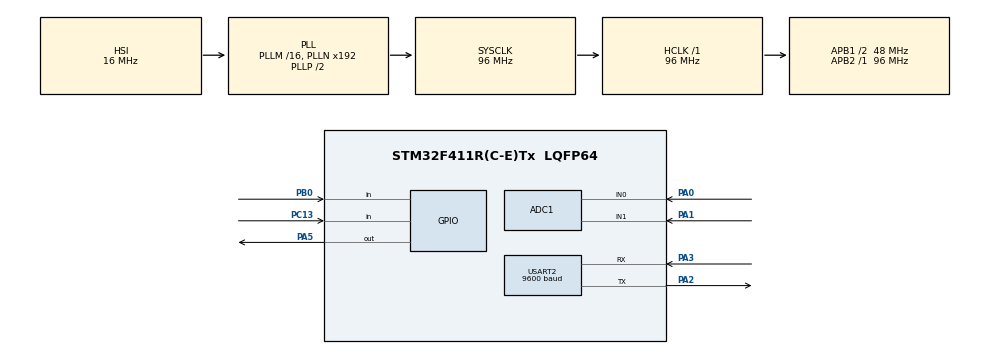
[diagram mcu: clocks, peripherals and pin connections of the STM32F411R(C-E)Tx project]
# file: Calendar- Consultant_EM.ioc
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ADC1.Channel-0\#ChannelRegularConversion=ADC_CHANNEL_0
ADC1.Channel-1\#ChannelRegularConversion=ADC_CHANNEL_1
ADC1.ContinuousConvMode=ENABLE
ADC1.DMAContinuousRequests=ENABLE
ADC1.NbrOfConversion=2
ADC1.NbrOfConversionFlag=1
ADC1.Rank-0\#ChannelRegularConversion=1
ADC1.Rank-1\#ChannelRegularConversion=2
ADC1.SamplingTime-0\#ChannelRegularConversion=ADC_SAMPLETIME_84CYCLES
ADC1.SamplingTime-1\#ChannelRegularConversion=ADC_SAMPLETIME_84CYCLES
ADC1.master=1
Dma.ADC1.1.Direction=DMA_PERIPH_TO_MEMORY
Dma.ADC1.1.FIFOMode=DMA_FIFOMODE_DISABLE
Dma.ADC1.1.Instance=DMA2_Stream0
Dma.ADC1.1.MemDataAlignment=DMA_MDATAALIGN_WORD
Dma.ADC1.1.MemInc=DMA_MINC_ENABLE
Dma.ADC1.1.Mode=DMA_CIRCULAR
Dma.ADC1.1.PeriphDataAlignment=DMA_PDATAALIGN_WORD
Dma.ADC1.1.PeriphInc=DMA_PINC_DISABLE
Dma.ADC1.1.Priority=DMA_PRIORITY_LOW
Dma.Request0=USART2_RX
Dma.Request1=ADC1
Dma.USART2_RX.0.Direction=DMA_PERIPH_TO_MEMORY
Dma.USART2_RX.0.FIFOMode=DMA_FIFOMODE_DISABLE
Dma.USART2_RX.0.Instance=DMA1_Stream5
Dma.USART2_RX.0.MemDataAlignment=DMA_MDATAALIGN_BYTE
Dma.USART2_RX.0.MemInc=DMA_MINC_ENABLE
Dma.USART2_RX.0.Mode=DMA_NORMAL
Dma.USART2_RX.0.PeriphDataAlignment=DMA_PDATAALIGN_BYTE
Dma.USART2_RX.0.PeriphInc=DMA_PINC_DISABLE
Dma.USART2_RX.0.Priority=DMA_PRIORITY_LOW
Mcu.Family=STM32F4
Mcu.Name=STM32F411R(C-E)Tx
Mcu.Package=LQFP64
NVIC.DMA1_Stream5_IRQn=true\:0\:0\:false\:false\:true\:false\:true\:true
NVIC.DMA2_Stream0_IRQn=true\:0\:0\:false\:false\:true\:false\:true\:true
NVIC.PriorityGroup=NVIC_PRIORITYGROUP_4
NVIC.TIM2_IRQn=true\:0\:0\:false\:false\:true\:true\:true\:true
NVIC.TIM4_IRQn=true\:0\:0\:false\:false\:true\:true\:true\:true
NVIC.USART2_IRQn=true\:0\:0\:false\:false\:true\:true\:true\:true
PA0-WKUP.Signal=SharedAnalog_PA0
PA1.Signal=SharedAnalog_PA1
PA2.Mode=Asynchronous
PA2.Signal=USART2_TX
PA3.Mode=Asynchronous
PA3.Signal=USART2_RX
PA5.Signal=GPIO_Output
PB0.Signal=GPIO_Input
PC13-ANTI_TAMP.Signal=GPIO_Input
PH0\ -\ OSC_IN.Mode=HSE-External-Oscillator
PH0\ -\ OSC_IN.Signal=RCC_OSC_IN
PH1\ -\ OSC_OUT.Mode=HSE-External-Oscillator
PH1\ -\ OSC_OUT.Signal=RCC_OSC_OUT
ProjectManager.HeapSize=0x200
ProjectManager.StackSize=0x400
ProjectManager.TargetToolchain=STM32CubeIDE
RCC.AHBFreq_Value=96000000
RCC.APB1CLKDivider=RCC_HCLK_DIV2
RCC.APB1Freq_Value=48000000
RCC.APB1TimFreq_Value=96000000
RCC.APB2Freq_Value=96000000
RCC.APB2TimFreq_Value=96000000
RCC.CortexFreq_Value=96000000
RCC.HCLKFreq_Value=96000000
RCC.HSE_VALUE=25000000
RCC.HSI_VALUE=16000000
RCC.LSE_VALUE=32768
RCC.SYSCLKFreq_VALUE=96000000
RCC.SYSCLKSource=RCC_SYSCLKSOURCE_PLLCLK
RCC.VCOOutputFreq_Value=192000000
SH.SharedAnalog_PA0.0=GPIO_Analog
SH.SharedAnalog_PA0.1=ADC1_IN0,IN0
SH.SharedAnalog_PA1.0=GPIO_Analog
SH.SharedAnalog_PA1.1=ADC1_IN1,IN1
TIM2.AutoReloadPreload=TIM_AUTORELOAD_PRELOAD_ENABLE
TIM2.Channel-Output\ Compare1\ No\ Output=TIM_CHANNEL_1
TIM2.Period=60999
TIM2.Prescaler=9999
TIM3.AutoReloadPreload=TIM_AUTORELOAD_PRELOAD_ENABLE
TIM3.Channel-Output\ Compare1\ No\ Output=TIM_CHANNEL_1
TIM3.Period=30999
TIM3.Prescaler=9999
TIM4.AutoReloadPreload=TIM_AUTORELOAD_PRELOAD_DISABLE
TIM4.Channel-Output\ Compare1\ No\ Output=TIM_CHANNEL_1
TIM4.Period=4999
TIM4.Prescaler=9999
USART2.BaudRate=9600
USART2.VirtualMode=VM_ASYNC
VP_TIM2_VS_ClockSourceINT.Mode=Internal
VP_TIM2_VS_no_output1.Mode=Output Compare1 No Output
VP_TIM3_VS_ClockSourceINT.Mode=Internal
VP_TIM3_VS_no_output1.Mode=Output Compare1 No Output
VP_TIM4_VS_ClockSourceINT.Mode=Internal
VP_TIM4_VS_no_output1.Mode=Output Compare1 No Output
board=custom

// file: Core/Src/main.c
/* USER CODE BEGIN Header */
/**
  ******************************************************************************
  * @file           : main.c
  * @brief          : Main program body
  ******************************************************************************
  * @attention
  *
  * Copyright (c) 2023 STMicroelectronics.
  * All rights reserved.
  *
  * This software is licensed under terms that can be found in the LICENSE file
  * in the root directory of this software component.
  * If no LICENSE file comes with this software, it is provided AS-IS.
  *
  ******************************************************************************
  */
/* USER CODE END Header */
#include "main.h"

/* USER CODE BEGIN Includes */
#include "LCD.h"
/* USER CODE END Includes */

ADC_HandleTypeDef hadc1;
DMA_HandleTypeDef hdma_adc1;

TIM_HandleTypeDef htim2;
TIM_HandleTypeDef htim3;
TIM_HandleTypeDef htim4;

UART_HandleTypeDef huart2;
DMA_HandleTypeDef hdma_usart2_rx;

void SystemClock_Config(void);
static void MX_GPIO_Init(void);
static void MX_DMA_Init(void);
static void MX_USART2_UART_Init(void);
static void MX_TIM2_Init(void);
static void MX_TIM3_Init(void);
static void MX_ADC1_Init(void);
static void MX_TIM4_Init(void);

/* USER CODE BEGIN 0 */

/*-------------------------------- LCD ------------------------ */
#define LCD_DATA_PORT 		GPIOB
#define LCD_RSE_PORT 		GPIOC
#define LCD_RS_PIN 			GPIO_PIN_8
#define LCD_E_PIN 			GPIO_PIN_6
#define LCD_LENGTH	 		15

LCD_PinType LCD_DATA_PINS[] = {GPIO_PIN_13,GPIO_PIN_14,GPIO_PIN_15,GPIO_PIN_1};
LCD_Struct_t LCD;
//Text that goes to LCD when updating function is called
char *LCD_Text[2];
//Reprint in LCD
void LCDUpdate();
void LCDPut(const char *s1,const char *s2);
void LCDPutEvents();
//If parameter is set to 1, only puts menu selector for yes and no (this improves visual)
void LCDPutDelete(int);
void LCDAnimationDown(char *s1,char *s2);
void LCDAnimationUp(char *s1,char *s2);
//Flag to indicate when to update screen in super loop
int fUpdateLCD=0;
#define LCD_DIVISION_LINE 		"  ___________  "
#define ANIAMATION_TIME 200
#define WITH_ANIMATION					0

//Delete Menu variables
const char DELETE_DIALOG[LCD_LENGTH+1] = "Delete event?";
const char delete_selector_diag_no[LCD_LENGTH+1] = "   Yes   (No)   ";
const char delete_selector_diag_yes[LCD_LENGTH+1] = "  (Yes)   No    ";
int onDeleteScreen = 0;
int no_selected = 1;

/*-------------------------------- USART ------------------------ */
void processBufferEvents();
#define LENGTH_RBUFFER 300
#define LENGTH_SBUFFER 2
#define TX_UPDATE 		'E';
#define TX_DELETE 		'D';
unsigned char read_buffer[LENGTH_RBUFFER+1];
unsigned char send_buffer[LENGTH_SBUFFER+1];

/*-------------------------------- Events ------------------------ */
#define MAX_EVENTS 5
//Struct to save summary and date of all events
typedef struct{
	char summary[LCD_LENGTH+1];
	char date[LCD_LENGTH+1];
}Events;
//List of events
Events events[MAX_EVENTS];

//Current amount of events received
int c_maxEvent = 0;
//Event selected to print on scren
int selected_event = 0;
//Flag to indicate when to update events in super loop
int fUpdateEvents=0;

void deleteEvent();

/*-------------------------------- Joystick ------------------------ */
#define JOYSTICK_MIN_CHANGE		1000
#define JOYSTICK_MED_VAL		2000

//Joystick val first index is up and down, second index is for left and right
//Set joystick previos val to middle val
uint32_t vals_joystick[2] = {JOYSTICK_MED_VAL,JOYSTICK_MED_VAL};
uint32_t last_vals_joystick[2] = {JOYSTICK_MED_VAL,JOYSTICK_MED_VAL};

//Flag that indicates if joystick has keep on the same enough time to make action again
int fTimmerJoystickUD = 0;
void joystickUp();
void joystickDown();
void joystickLeft();
void joystickRight();
void joystickCheckLR();
void joystickCheckUD();

/* USER CODE END 0 */

int main(void)
{

  /* MCU Configuration--------------------------------------------------------*/

  /* Reset of all peripherals, Initializes the Flash interface and the Systick. */
  HAL_Init();

  /* Configure the system clock */
  SystemClock_Config();

  /* Initialize all configured peripherals */
  MX_GPIO_Init();
  MX_DMA_Init();
  MX_USART2_UART_Init();
  MX_TIM2_Init();
  MX_TIM3_Init();
  MX_ADC1_Init();
  MX_TIM4_Init();
  /* USER CODE BEGIN 2 */

  /* LCD INIT */
  HAL_Delay(500);
  LCD = LCD_Create(LCD_DATA_PORT, LCD_DATA_PINS, LCD_RSE_PORT, LCD_RS_PIN, LCD_RSE_PORT, LCD_E_PIN);
  HAL_Delay(500);
  LCDPut("LOADING...","");
  LCDUpdate();

  /* get events */
  fUpdateEvents=1;
  //Start update events timmer
  HAL_TIM_Base_Start_IT(&htim2);
  //Start update LCD timmer
  HAL_TIM_Base_Start_IT(&htim3);
  LCD_XY(&LCD,0,0);
  HAL_ADC_Start_DMA(&hadc1,vals_joystick,2);

  /* USER CODE END 2 */

  /* Infinite loop */
  while (1)
  {

    /* USER CODE BEGIN 3 */

	  /* --------------------- Joystick --------------- */
	  //If on delete event screen, cant move up and down to change selected event
	  if (onDeleteScreen==0){
		  joystickCheckUD();
	  }
	  joystickCheckLR();

	  /* --------------------- Check for delete event --------------- */

	  if (HAL_GPIO_ReadPin(GPIOB,GPIO_PIN_0) == GPIO_PIN_RESET && onDeleteScreen){
		  if (no_selected){
			  onDeleteScreen=0;
			  LCDPutEvents();
			  LCDUpdate();
		  }else{
			  deleteEvent();
			  fUpdateEvents=1;
			  onDeleteScreen=0;
			  no_selected=1;
			  LCDPutEvents();
			  LCDUpdate();
		  }
	  }

	  /* --------------------- Check for update Flags --------------- */
	  //Update Events
	  if (fUpdateEvents){
		//Ask for info
		//Clean buffers
		memset(read_buffer,0,LENGTH_RBUFFER);

		send_buffer[0] = TX_UPDATE;
		send_buffer[1] = '-';

		fUpdateEvents=0;
		HAL_UART_Transmit_IT(&huart2,send_buffer,LENGTH_SBUFFER);
	  }
	  //Update LCD

	  if (fUpdateLCD){
		LCDUpdate();
		fUpdateLCD=0;
	  }

	  /* --------------------- Test --------------- */

	  //Dummy code for button
	  if (HAL_GPIO_ReadPin(GPIOC, GPIO_PIN_13) == GPIO_PIN_RESET){
		  HAL_GPIO_TogglePin(GPIOA, GPIO_PIN_5);
	  }

	  HAL_Delay(50);
  }
  /* USER CODE END 3 */
}

void SystemClock_Config(void)
{
  RCC_OscInitTypeDef RCC_OscInitStruct = {0};
  RCC_ClkInitTypeDef RCC_ClkInitStruct = {0};

  /** Configure the main internal regulator output voltage
  */
  __HAL_RCC_PWR_CLK_ENABLE();
  __HAL_PWR_VOLTAGESCALING_CONFIG(PWR_REGULATOR_VOLTAGE_SCALE1);

  /** Initializes the RCC Oscillators according to the specified parameters
  * in the RCC_OscInitTypeDef structure.
  */
  RCC_OscInitStruct.OscillatorType = RCC_OSCILLATORTYPE_HSI;
  RCC_OscInitStruct.HSIState = RCC_HSI_ON;
  RCC_OscInitStruct.HSICalibrationValue = RCC_HSICALIBRATION_DEFAULT;
  RCC_OscInitStruct.PLL.PLLState = RCC_PLL_ON;
  RCC_OscInitStruct.PLL.PLLSource = RCC_PLLSOURCE_HSI;
  RCC_OscInitStruct.PLL.PLLM = 16;
  RCC_OscInitStruct.PLL.PLLN = 192;
  RCC_OscInitStruct.PLL.PLLP = RCC_PLLP_DIV2;
  RCC_OscInitStruct.PLL.PLLQ = 4;
  if (HAL_RCC_OscConfig(&RCC_OscInitStruct) != HAL_OK)
  {
    Error_Handler();
  }

  /** Initializes the CPU, AHB and APB buses clocks
  */
  RCC_ClkInitStruct.ClockType = RCC_CLOCKTYPE_HCLK|RCC_CLOCKTYPE_SYSCLK
                              |RCC_CLOCKTYPE_PCLK1|RCC_CLOCKTYPE_PCLK2;
  RCC_ClkInitStruct.SYSCLKSource = RCC_SYSCLKSOURCE_PLLCLK;
  RCC_ClkInitStruct.AHBCLKDivider = RCC_SYSCLK_DIV1;
  RCC_ClkInitStruct.APB1CLKDivider = RCC_HCLK_DIV2;
  RCC_ClkInitStruct.APB2CLKDivider = RCC_HCLK_DIV1;

  if (HAL_RCC_ClockConfig(&RCC_ClkInitStruct, FLASH_LATENCY_3) != HAL_OK)
  {
    Error_Handler();
  }
}

static void MX_ADC1_Init(void)
{

  ADC_ChannelConfTypeDef sConfig = {0};

  /** Configure the global features of the ADC (Clock, Resolution, Data Alignment and number of conversion)
  */
  hadc1.Instance = ADC1;
  hadc1.Init.ClockPrescaler = ADC_CLOCK_SYNC_PCLK_DIV4;
  hadc1.Init.Resolution = ADC_RESOLUTION_12B;
  hadc1.Init.ScanConvMode = ENABLE;
  hadc1.Init.ContinuousConvMode = ENABLE;
  hadc1.Init.DiscontinuousConvMode = DISABLE;
  hadc1.Init.ExternalTrigConvEdge = ADC_EXTERNALTRIGCONVEDGE_NONE;
  hadc1.Init.ExternalTrigConv = ADC_SOFTWARE_START;
  hadc1.Init.DataAlign = ADC_DATAALIGN_RIGHT;
  hadc1.Init.NbrOfConversion = 2;
  hadc1.Init.DMAContinuousRequests = ENABLE;
  hadc1.Init.EOCSelection = ADC_EOC_SINGLE_CONV;
  if (HAL_ADC_Init(&hadc1) != HAL_OK)
  {
    Error_Handler();
  }

  /** Configure for the selected ADC regular channel its corresponding rank in the sequencer and its sample time.
  */
  sConfig.Channel = ADC_CHANNEL_0;
  sConfig.Rank = 1;
  sConfig.SamplingTime = ADC_SAMPLETIME_84CYCLES;
  if (HAL_ADC_ConfigChannel(&hadc1, &sConfig) != HAL_OK)
  {
    Error_Handler();
  }

  /** Configure for the selected ADC regular channel its corresponding rank in the sequencer and its sample time.
  */
  sConfig.Channel = ADC_CHANNEL_1;
  sConfig.Rank = 2;
  if (HAL_ADC_ConfigChannel(&hadc1, &sConfig) != HAL_OK)
  {
    Error_Handler();
  }

}

static void MX_TIM2_Init(void)
{

  TIM_ClockConfigTypeDef sClockSourceConfig = {0};
  TIM_MasterConfigTypeDef sMasterConfig = {0};
  TIM_OC_InitTypeDef sConfigOC = {0};

  htim2.Instance = TIM2;
  htim2.Init.Prescaler = 9999;
  htim2.Init.CounterMode = TIM_COUNTERMODE_UP;
  htim2.Init.Period = 60999;
  htim2.Init.ClockDivision = TIM_CLOCKDIVISION_DIV1;
  htim2.Init.AutoReloadPreload = TIM_AUTORELOAD_PRELOAD_ENABLE;
  if (HAL_TIM_Base_Init(&htim2) != HAL_OK)
  {
    Error_Handler();
  }
  sClockSourceConfig.ClockSource = TIM_CLOCKSOURCE_INTERNAL;
  if (HAL_TIM_ConfigClockSource(&htim2, &sClockSourceConfig) != HAL_OK)
  {
    Error_Handler();
  }
  if (HAL_TIM_OC_Init(&htim2) != HAL_OK)
  {
    Error_Handler();
  }
  sMasterConfig.MasterOutputTrigger = TIM_TRGO_RESET;
  sMasterConfig.MasterSlaveMode = TIM_MASTERSLAVEMODE_DISABLE;
  if (HAL_TIMEx_MasterConfigSynchronization(&htim2, &sMasterConfig) != HAL_OK)
  {
    Error_Handler();
  }
  sConfigOC.OCMode = TIM_OCMODE_TIMING;
  sConfigOC.Pulse = 0;
  sConfigOC.OCPolarity = TIM_OCPOLARITY_HIGH;
  sConfigOC.OCFastMode = TIM_OCFAST_DISABLE;
  if (HAL_TIM_OC_ConfigChannel(&htim2, &sConfigOC, TIM_CHANNEL_1) != HAL_OK)
  {
    Error_Handler();
  }

}

static void MX_TIM3_Init(void)
{

  TIM_ClockConfigTypeDef sClockSourceConfig = {0};
  TIM_MasterConfigTypeDef sMasterConfig = {0};
  TIM_OC_InitTypeDef sConfigOC = {0};

  htim3.Instance = TIM3;
  htim3.Init.Prescaler = 9999;
  htim3.Init.CounterMode = TIM_COUNTERMODE_UP;
  htim3.Init.Period = 30999;
  htim3.Init.ClockDivision = TIM_CLOCKDIVISION_DIV1;
  htim3.Init.AutoReloadPreload = TIM_AUTORELOAD_PRELOAD_ENABLE;
  if (HAL_TIM_Base_Init(&htim3) != HAL_OK)
  {
    Error_Handler();
  }
  sClockSourceConfig.ClockSource = TIM_CLOCKSOURCE_INTERNAL;
  if (HAL_TIM_ConfigClockSource(&htim3, &sClockSourceConfig) != HAL_OK)
  {
    Error_Handler();
  }
  if (HAL_TIM_OC_Init(&htim3) != HAL_OK)
  {
    Error_Handler();
  }
  sMasterConfig.MasterOutputTrigger = TIM_TRGO_RESET;
  sMasterConfig.MasterSlaveMode = TIM_MASTERSLAVEMODE_DISABLE;
  if (HAL_TIMEx_MasterConfigSynchronization(&htim3, &sMasterConfig) != HAL_OK)
  {
    Error_Handler();
  }
  sConfigOC.OCMode = TIM_OCMODE_TIMING;
  sConfigOC.Pulse = 0;
  sConfigOC.OCPolarity = TIM_OCPOLARITY_HIGH;
  sConfigOC.OCFastMode = TIM_OCFAST_DISABLE;
  if (HAL_TIM_OC_ConfigChannel(&htim3, &sConfigOC, TIM_CHANNEL_1) != HAL_OK)
  {
    Error_Handler();
  }

}

static void MX_TIM4_Init(void)
{

  TIM_ClockConfigTypeDef sClockSourceConfig = {0};
  TIM_MasterConfigTypeDef sMasterConfig = {0};
  TIM_OC_InitTypeDef sConfigOC = {0};

  htim4.Instance = TIM4;
  htim4.Init.Prescaler = 9999;
  htim4.Init.CounterMode = TIM_COUNTERMODE_UP;
  htim4.Init.Period = 4999;
  htim4.Init.ClockDivision = TIM_CLOCKDIVISION_DIV1;
  htim4.Init.AutoReloadPreload = TIM_AUTORELOAD_PRELOAD_DISABLE;
  if (HAL_TIM_Base_Init(&htim4) != HAL_OK)
  {
    Error_Handler();
  }
  sClockSourceConfig.ClockSource = TIM_CLOCKSOURCE_INTERNAL;
  if (HAL_TIM_ConfigClockSource(&htim4, &sClockSourceConfig) != HAL_OK)
  {
    Error_Handler();
  }
  if (HAL_TIM_OC_Init(&htim4) != HAL_OK)
  {
    Error_Handler();
  }
  sMasterConfig.MasterOutputTrigger = TIM_TRGO_RESET;
  sMasterConfig.MasterSlaveMode = TIM_MASTERSLAVEMODE_DISABLE;
  if (HAL_TIMEx_MasterConfigSynchronization(&htim4, &sMasterConfig) != HAL_OK)
  {
    Error_Handler();
  }
  sConfigOC.OCMode = TIM_OCMODE_TIMING;
  sConfigOC.Pulse = 0;
  sConfigOC.OCPolarity = TIM_OCPOLARITY_HIGH;
  sConfigOC.OCFastMode = TIM_OCFAST_DISABLE;
  if (HAL_TIM_OC_ConfigChannel(&htim4, &sConfigOC, TIM_CHANNEL_1) != HAL_OK)
  {
    Error_Handler();
  }

}

static void MX_USART2_UART_Init(void)
{

  huart2.Instance = USART2;
  huart2.Init.BaudRate = 9600;
  huart2.Init.WordLength = UART_WORDLENGTH_8B;
  huart2.Init.StopBits = UART_STOPBITS_1;
  huart2.Init.Parity = UART_PARITY_NONE;
  huart2.Init.Mode = UART_MODE_TX_RX;
  huart2.Init.HwFlowCtl = UART_HWCONTROL_NONE;
  huart2.Init.OverSampling = UART_OVERSAMPLING_16;
  if (HAL_UART_Init(&huart2) != HAL_OK)
  {
    Error_Handler();
  }

}

static void MX_DMA_Init(void)
{

  /* DMA controller clock enable */
  __HAL_RCC_DMA1_CLK_ENABLE();
  __HAL_RCC_DMA2_CLK_ENABLE();

  /* DMA interrupt init */
  /* DMA1_Stream5_IRQn interrupt configuration */
  HAL_NVIC_SetPriority(DMA1_Stream5_IRQn, 0, 0);
  HAL_NVIC_EnableIRQ(DMA1_Stream5_IRQn);
  /* DMA2_Stream0_IRQn interrupt configuration */
  HAL_NVIC_SetPriority(DMA2_Stream0_IRQn, 0, 0);
  HAL_NVIC_EnableIRQ(DMA2_Stream0_IRQn);

}

static void MX_GPIO_Init(void)
{
  GPIO_InitTypeDef GPIO_InitStruct = {0};

  /* GPIO Ports Clock Enable */
  __HAL_RCC_GPIOC_CLK_ENABLE();
  __HAL_RCC_GPIOH_CLK_ENABLE();
  __HAL_RCC_GPIOA_CLK_ENABLE();
  __HAL_RCC_GPIOB_CLK_ENABLE();

  /*Configure GPIO pin Output Level */
  HAL_GPIO_WritePin(GPIOA, GPIO_PIN_5, GPIO_PIN_RESET);

  /*Configure GPIO pin : PC13 */
  GPIO_InitStruct.Pin = GPIO_PIN_13;
  GPIO_InitStruct.Mode = GPIO_MODE_INPUT;
  GPIO_InitStruct.Pull = GPIO_NOPULL;
  HAL_GPIO_Init(GPIOC, &GPIO_InitStruct);

  /*Configure GPIO pin : PA5 */
  GPIO_InitStruct.Pin = GPIO_PIN_5;
  GPIO_InitStruct.Mode = GPIO_MODE_OUTPUT_PP;
  GPIO_InitStruct.Pull = GPIO_NOPULL;
  GPIO_InitStruct.Speed = GPIO_SPEED_FREQ_LOW;
  HAL_GPIO_Init(GPIOA, &GPIO_InitStruct);

  /*Configure GPIO pin : PB0 */
  GPIO_InitStruct.Pin = GPIO_PIN_0;
  GPIO_InitStruct.Mode = GPIO_MODE_INPUT;
  GPIO_InitStruct.Pull = GPIO_NOPULL;
  HAL_GPIO_Init(GPIOB, &GPIO_InitStruct);

}

/* USER CODE BEGIN 4 */

/*-------------------------------- Events ------------------------ */

void processBufferEvents(){

	/*
	 * Save received buffer to array of structures of events
	* Data format: summary_1\tdate_1\tsummary_2\tdate_2...
	*/
	//Process data
	const int length_buffer = strlen((char *) read_buffer);
	unsigned char *start_summary,*start_date;
	unsigned char *end_date;
	int final_summary_index,final_date_index;

	//If data received
	if (strlen((char *) read_buffer)>0){
	  //start in read_buffer
	  start_summary = read_buffer;
	  for (c_maxEvent=0; c_maxEvent < MAX_EVENTS ;c_maxEvent++){
		  //Get starts of summary and date

		  //Check first character where \t appears, that is start of date
		  start_date = (unsigned char *) strchr((char *) start_summary+1,'\t');
		  //Check if start date was not found
		  if (start_date==0){
			  //If not found then data is not complete, terminate and do not add this event
			  c_maxEvent--;
			  if (c_maxEvent<0)
				  c_maxEvent=0;
			  break;
		  }

		  //Get end of date
		  end_date = (unsigned char *) strchr((char *) start_date+1,'\t');

		  //Get lengths
		  final_summary_index = (int)(start_date-start_summary);
			  //If end_date was found then calculate length
		  if (end_date!=0){
			  final_date_index = (int)(end_date - start_date);
		  }else{
			  //If end_date was found (\t), then end of date will be end of buffer
			  final_date_index = (int)(read_buffer+ length_buffer - start_date);
		  }

		  //Copy data to structure
			  //Copy summary
				  //Clean summary
		  memset(events[c_maxEvent].summary,0,LCD_LENGTH);
		  //Check to not pass over LCD_LENGTH
		  if(LCD_LENGTH < final_summary_index){
			  strncpy((char *) events[c_maxEvent].summary,(char *) start_summary,LCD_LENGTH);
		  }else{
			  strncpy((char *) events[c_maxEvent].summary,(char *) start_summary,final_summary_index);
		  }
			  //Copy date
		  memset(events[c_maxEvent].date,0,LCD_LENGTH);
		  if(LCD_LENGTH < final_date_index){
			  strncpy((char *) events[c_maxEvent].date,(char *) (start_date+1),LCD_LENGTH);
		  }else{
			  strncpy((char *) events[c_maxEvent].date,(char *) (start_date+1),final_date_index-1);
		  }

		  //Get next start for next summary
		  start_summary = end_date+1;

		  //If no new \t was found then terminate
		  if (end_date==0){
			  c_maxEvent++;
			  break;
		  }
	  }
	}
	else{
	  //If no data received
	  c_maxEvent=0;
	}
	//If selected event is greater than now updated max number of events received, then set selected to max
	if (selected_event>=c_maxEvent){
		if (c_maxEvent==0){
			selected_event=0;
		}else{
			selected_event=c_maxEvent-1;
		}
	}

	LCDPutEvents();
	//Only change flag and no update because update can not be called on interrupts (Because of delays implemented on LCD file)
	fUpdateLCD=1;
}

void deleteEvent(){
	send_buffer[0] = TX_DELETE;
	send_buffer[1] = '0'+selected_event;
	HAL_UART_Transmit(&huart2,send_buffer, LENGTH_SBUFFER, 5000);
}

/*-------------------------------- LCD ------------------------ */

void LCDPut(const char *s1,const char *s2){
	LCD_Text[0] = s1;
	LCD_Text[1] = s2;
}

void LCDUpdate(){
	//Update LCD
	LCD_Command(&LCD, LCD_CLEAR_SCREEN);
	LCD_XY(&LCD,0,0);
	LCD_String(&LCD,LCD_Text[0]);
	LCD_XY(&LCD,1,0);
	LCD_String(&LCD,LCD_Text[1]);
}

void LCDPutEvents(){
	//If got any events
	if (onDeleteScreen==0){
		if (c_maxEvent>0){
			LCDPut((char *) events[selected_event].summary,(char *) events[selected_event].date);
		}else{
			LCDPut("No events","Received!");
		}
	}
}

void LCDAnimationDown(char *s1,char *s2){
	if (WITH_ANIMATION){
		//Animation to new text using already put text in LCD
		LCD_Text[1] = LCD_Text[0];
		LCD_Text[0] = LCD_DIVISION_LINE;
		LCDUpdate();
		HAL_Delay(ANIAMATION_TIME);

		LCD_Text[0] = s2;
		LCD_Text[1] = LCD_DIVISION_LINE;
		LCDUpdate();
		HAL_Delay(ANIAMATION_TIME);

		LCD_Text[0] = s1;
		LCD_Text[1] = s2;
		LCDUpdate();
	}else{
		LCD_Text[0] = s1;
		LCD_Text[1] = s2;
		LCDUpdate();
	}
}

void LCDAnimationUp(char *s1,char *s2){
	if (WITH_ANIMATION){
		//Animation to new text using already put text in LCD
		LCD_Text[0] = LCD_Text[1];
		LCD_Text[1] = LCD_DIVISION_LINE;
		LCDUpdate();
		HAL_Delay(ANIAMATION_TIME);

		LCD_Text[0] = LCD_DIVISION_LINE;
		LCD_Text[1] = s1;
		LCDUpdate();
		HAL_Delay(ANIAMATION_TIME);

		LCD_Text[0] = s1;
		LCD_Text[1] = s2;
		LCDUpdate();
	}else{
		LCD_Text[0] = s1;
		LCD_Text[1] = s2;
		LCDUpdate();
	}
}

void LCDPutDelete(int onlyUpdateMenu){
	if (onlyUpdateMenu){
		if (no_selected){
			LCD_Text[1]=(DELETE_DIALOG, delete_selector_diag_no);

		}else{
			LCD_Text[1]=(DELETE_DIALOG, delete_selector_diag_yes);
		}
		LCD_XY(&LCD,1,0);
		LCD_String(&LCD,LCD_Text[1]);
	}else{
		if (no_selected){
			LCDPut(DELETE_DIALOG, delete_selector_diag_no);
		}else{
			LCDPut(DELETE_DIALOG, delete_selector_diag_yes);
		}
	}
}

/*-------------------------------- Joystick ------------------------ */

void joystickCheckLR(){
	/*Code for Joystick */

	//Move Right
	if (last_vals_joystick[1] < JOYSTICK_MED_VAL + JOYSTICK_MIN_CHANGE && vals_joystick[1] > JOYSTICK_MED_VAL + JOYSTICK_MIN_CHANGE){
		joystickRight();
	}

	//Move left
	else if (last_vals_joystick[1] > JOYSTICK_MED_VAL - JOYSTICK_MIN_CHANGE && vals_joystick[1] < JOYSTICK_MED_VAL- JOYSTICK_MIN_CHANGE){
	  //Update selected event and update LCD text
		joystickLeft();
	}

	//Update last joystick val
	last_vals_joystick[1]=vals_joystick[1];
}

void joystickCheckUD(){
	/*Code for Joystick */

	//Move up
	if (last_vals_joystick[0] < JOYSTICK_MED_VAL + JOYSTICK_MIN_CHANGE && vals_joystick[0] > JOYSTICK_MED_VAL + JOYSTICK_MIN_CHANGE){
	  //Change Event selected and update lcd
	  joystickUp();

	  //Start Joystick timmer
	  HAL_TIM_Base_Stop(&htim4);
	  fTimmerJoystickUD=0;
	  HAL_TIM_Base_Start_IT(&htim4);
	}else if(vals_joystick[0] > JOYSTICK_MED_VAL + JOYSTICK_MIN_CHANGE && fTimmerJoystickUD){
	  //If keeps joystick up
	  joystickUp();

	  //Start Joystick timmer
	  HAL_TIM_Base_Stop(&htim4);
	  fTimmerJoystickUD=0;
	  HAL_TIM_Base_Start_IT(&htim4);
	}

	//Move down
	else if (last_vals_joystick[0] > JOYSTICK_MED_VAL - JOYSTICK_MIN_CHANGE && vals_joystick[0] < JOYSTICK_MED_VAL- JOYSTICK_MIN_CHANGE){
	  //Update selected event and update LCD text
	  joystickDown();

	  //Start Joystick timmer
	  HAL_TIM_Base_Stop(&htim4);
	  fTimmerJoystickUD=0;
	  HAL_TIM_Base_Start_IT(&htim4);
	}else if (vals_joystick[0] < JOYSTICK_MED_VAL - JOYSTICK_MIN_CHANGE && fTimmerJoystickUD){
	  //If joystick keeps down
	  joystickDown();

	  //Start Joystick timmer
	  HAL_TIM_Base_Stop(&htim4);
	  fTimmerJoystickUD=0;
	  HAL_TIM_Base_Start_IT(&htim4);
	}

	//Update last joystick val
	last_vals_joystick[0]=vals_joystick[0];
}

void joystickUp(){
	selected_event++;
	if (selected_event>=c_maxEvent)
	  selected_event=c_maxEvent-1;
	else
	  LCDAnimationDown(events[selected_event].summary,events[selected_event].date);
}

void joystickLeft(){
	if(c_maxEvent>0){
		if (onDeleteScreen){
			//If already on delete screen, move to left means select yes
			no_selected=0;
			LCDPutDelete(1);
			LCDUpdate();
		}else{
			//Change to delete screen and select no
			onDeleteScreen = 1;
			no_selected=1;
			LCDPutDelete(0);
			LCDUpdate();
		}
	}
}

void joystickRight(){
	if (onDeleteScreen){
		if (no_selected){
			//If already no selected means exit of delete screen
			onDeleteScreen = 0;
			LCDPutEvents();
		}else{
			no_selected = 1;
			LCDPutDelete(1);
		}
		LCDUpdate();
	}
}

void joystickDown(){
	selected_event--;
	if (selected_event<0)
	  selected_event=0;
	else
	  LCDAnimationUp(events[selected_event].summary,events[selected_event].date);
}

/*-------------------------------- Interrupts ------------------------ */

void HAL_UART_TxCpltCallback(UART_HandleTypeDef *huart){
	if(huart->Instance==USART2){
		//Get info
		//HAL_UART_DMAStop(&huart2);
		HAL_GPIO_TogglePin(GPIOA,GPIO_PIN_5);
		HAL_UARTEx_ReceiveToIdle_DMA(&huart2, read_buffer, LENGTH_RBUFFER);
		//Disable half data transfereds
		__HAL_DMA_DISABLE_IT(&hdma_usart2_rx,DMA_IT_HT);
	}
}

void HAL_TIM_PeriodElapsedCallback(TIM_HandleTypeDef *htim)
{
  //Timmer for LCD
  if (htim == &htim3){
	 //Update only LCD text
	 //fUpdateLCD=1;
  }
  //Timmer for Update events
  if (htim == &htim2 )
  {
	//Update Events
    fUpdateEvents=1;
  }

  //Timmer for Joystick
  if (htim == &htim4){
	  fTimmerJoystickUD=1;
  }
}

void HAL_UARTEx_RxEventCallback(UART_HandleTypeDef *huart, uint16_t Size){
	if(huart->Instance==USART2){
		//Procces data
		processBufferEvents();
	}
}

/* USER CODE END 4 */

void Error_Handler(void)
{
  __disable_irq();
  while (1)
  {
  }
}
